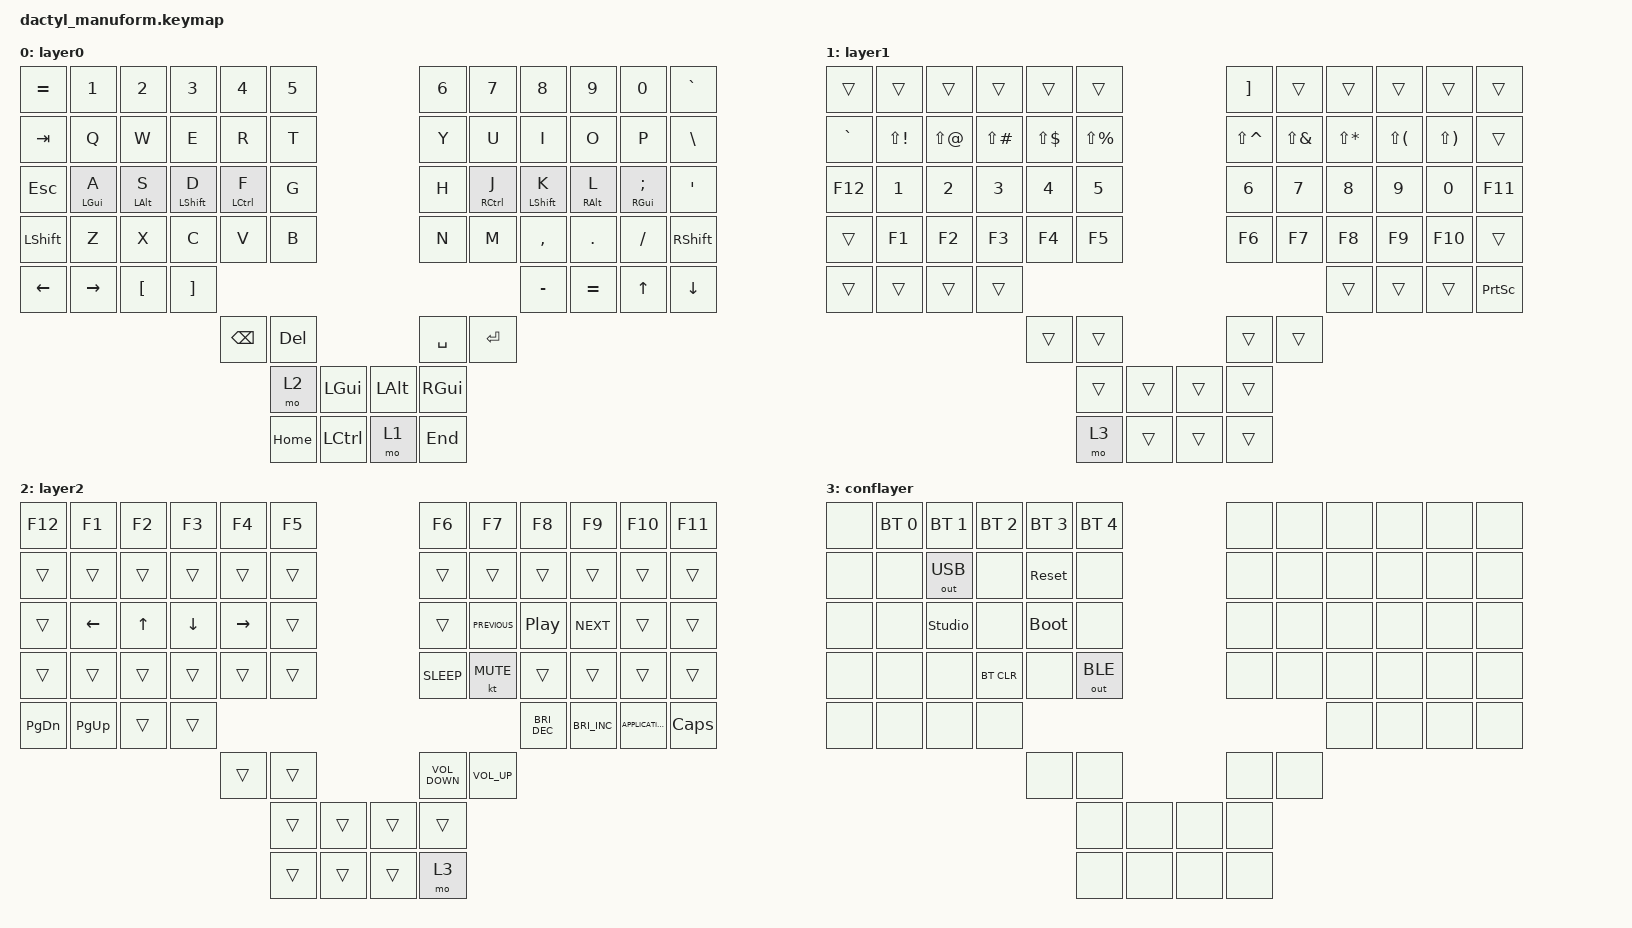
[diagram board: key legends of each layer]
#include <behaviors.dtsi>
#include <dt-bindings/zmk/bt.h>
#include <dt-bindings/zmk/keys.h>
#include <dt-bindings/zmk/outputs.h>

/ {
    behaviors {
        hml: home_row_mod_left {
            compatible = "zmk,behavior-hold-tap";
            #binding-cells = <2>;
            flavor = "balanced";
            require-prior-idle-ms = <125>;
            tapping-term-ms = <200>;
            quick-tap-ms = <175>;
            bindings = <&kp>, <&kp>;

            // Right-hand keys.

            hold-trigger-key-positions = <
                6  7  8  9  10 11
                18 19 20 21 22 23
                30 31 32 33 34 35
                42 43 44 45 46 47
                52 53 54 55
                58 59
                62 63 67
            >;

            hold-trigger-on-release;
        };

        hmr: home_row_mod_right {
            compatible = "zmk,behavior-hold-tap";
            #binding-cells = <2>;
            flavor = "balanced";
            require-prior-idle-ms = <120>;
            tapping-term-ms = <200>;
            quick-tap-ms = <175>;
            bindings = <&kp>, <&kp>;

            // Left-hand keys.

            hold-trigger-key-positions = <
                0  1  2  3  4  5
                12 13 14 15 16 17
                24 25 26 27 28 29
                36 37 38 39 40 41
                48 49 50 51
                56 57
                60 61 64 65 66
            >;

            hold-trigger-on-release;
        };
    };

    keymap {
        compatible = "zmk,keymap";

        layer0 {
            bindings = <
&kp EQUAL       &kp N1       &kp N2            &kp N3             &kp N4         &kp N5                                  &kp N6         &kp N7        &kp N8         &kp N9       &kp N0               &kp GRAVE
&kp TAB         &kp Q        &kp W             &kp E              &kp R          &kp T                                   &kp Y          &kp U         &kp I          &kp O        &kp P                &kp BACKSLASH
&kp ESCAPE      &hml LGUI A  &hml LALT S       &hml LSHIFT D      &hml LCTRL F   &kp G                                   &kp H          &hmr RCTRL J  &hmr LSHIFT K  &hmr RALT L  &hmr RGUI SEMICOLON  &kp SINGLE_QUOTE
&kp LEFT_SHIFT  &kp Z        &kp X             &kp C              &kp V          &kp B                                   &kp N          &kp M         &kp COMMA      &kp DOT      &kp SLASH            &kp RIGHT_SHIFT
&kp LEFT        &kp RIGHT    &kp LEFT_BRACKET  &kp RIGHT_BRACKET                                                                                      &kp MINUS      &kp EQUAL    &kp UP               &kp DOWN
                                                                  &kp BACKSPACE  &kp DELETE                              &kp SPACE      &kp ENTER
                                                                                 &mo 2       &kp LEFT_GUI  &kp LEFT_ALT  &kp RIGHT_GUI
                                                                                 &kp HOME    &kp LCTRL     &mo 1         &kp END
            >;
        };

        layer1 {
            bindings = <
&trans     &trans        &trans      &trans         &trans        &trans                         &kp RBKT       &trans        &trans        &trans        &trans        &trans
&kp GRAVE  &kp LS(EXCL)  &kp LS(AT)  &kp LS(POUND)  &kp LS(DLLR)  &kp LS(PRCNT)                  &kp LS(CARET)  &kp LS(AMPS)  &kp LS(STAR)  &kp LS(LPAR)  &kp LS(RPAR)  &trans
&kp F12    &kp N1        &kp N2      &kp N3         &kp N4        &kp N5                         &kp N6         &kp N7        &kp N8        &kp N9        &kp N0        &kp F11
&trans     &kp F1        &kp F2      &kp F3         &kp F4        &kp F5                         &kp F6         &kp F7        &kp F8        &kp F9        &kp F10       &trans
&trans     &trans        &trans      &trans                                                                                   &trans        &trans        &trans        &kp PRINTSCREEN
                                                    &trans        &trans                         &trans         &trans
                                                                  &trans         &trans  &trans  &trans
                                                                  &mo 3          &trans  &trans  &trans
            >;
        };

        layer2 {
            bindings = <
&kp F12        &kp F1       &kp F2  &kp F3    &kp F4     &kp F5                  &kp F6             &kp F7           &kp F8            &kp F9                &kp F10            &kp F11
&trans         &trans       &trans  &trans    &trans     &trans                  &trans             &trans           &trans            &trans                &trans             &trans
&trans         &kp LEFT     &kp UP  &kp DOWN  &kp RIGHT  &trans                  &trans             &kp C_PREVIOUS   &kp C_PLAY_PAUSE  &kp C_NEXT            &trans             &trans
&trans         &trans       &trans  &trans    &trans     &trans                  &kp C_SLEEP        &kt K_MUTE       &trans            &trans                &trans             &trans
&kp PAGE_DOWN  &kp PAGE_UP  &trans  &trans                                                                           &kp C_BRI_DEC     &kp C_BRIGHTNESS_INC  &kp K_APPLICATION  &kp CAPSLOCK
                                              &trans     &trans                  &kp C_VOLUME_DOWN  &kp C_VOLUME_UP
                                                         &trans  &trans  &trans  &trans
                                                         &trans  &trans  &trans  &mo 3
            >;
        };

        conflayer {
            bindings = <
&none  &bt BT_SEL 0  &bt BT_SEL 1    &bt BT_SEL 2  &bt BT_SEL 3  &bt BT_SEL 4                &none  &none  &none  &none  &none  &none
&none  &none         &out OUT_USB    &none         &sys_reset    &none                       &none  &none  &none  &none  &none  &none
&none  &none         &studio_unlock  &none         &bootloader   &none                       &none  &none  &none  &none  &none  &none
&none  &none         &none           &bt BT_CLR    &none         &out OUT_BLE                &none  &none  &none  &none  &none  &none
&none  &none         &none           &none                                                                 &none  &none  &none  &none
                                                   &none         &none                       &none  &none
                                                                 &none         &none  &none  &none
                                                                 &none         &none  &none  &none
            >;
        };
    };
};
